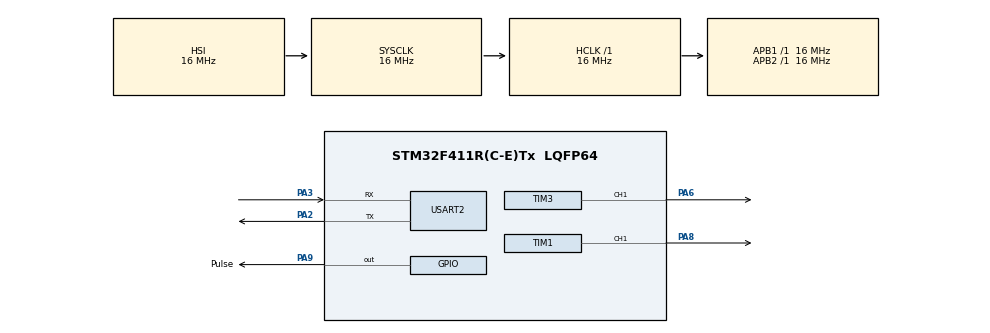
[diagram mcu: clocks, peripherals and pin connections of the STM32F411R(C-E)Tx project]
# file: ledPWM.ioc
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Mcu.Family=STM32F4
Mcu.Name=STM32F411R(C-E)Tx
Mcu.Package=LQFP64
NVIC.PriorityGroup=NVIC_PRIORITYGROUP_4
NVIC.USART2_IRQn=true\:0\:0\:false\:false\:true\:true\:true\:true
PA2.Mode=Asynchronous
PA2.Signal=USART2_TX
PA3.Mode=Asynchronous
PA3.Signal=USART2_RX
PA6.Signal=S_TIM3_CH1
PA8.Signal=S_TIM1_CH1
PA9.GPIO_Label=Pulse
PA9.Signal=GPIO_Output
ProjectManager.HeapSize=0x200
ProjectManager.StackSize=0x400
ProjectManager.TargetToolchain=STM32CubeIDE
RCC.AHBFreq_Value=16000000
RCC.APB1Freq_Value=16000000
RCC.APB2Freq_Value=16000000
RCC.CortexFreq_Value=16000000
RCC.HSE_VALUE=25000000
RCC.HSI_VALUE=16000000
RCC.LSE_VALUE=32768
RCC.SYSCLKFreq_VALUE=16000000
RCC.VCOOutputFreq_Value=192000000
SH.S_TIM1_CH1.0=TIM1_CH1,PWM Generation1 CH1
SH.S_TIM3_CH1.0=TIM3_CH1,PWM Generation1 CH1
TIM1.Channel-PWM\ Generation1\ CH1=TIM_CHANNEL_1
TIM1.Period=1000-1
TIM1.Prescaler=16-1
TIM1.Pulse-PWM\ Generation1\ CH1=500-1
TIM3.Channel-PWM\ Generation1\ CH1=TIM_CHANNEL_1
TIM3.Period=1000-1
TIM3.Prescaler=16-1
TIM3.Pulse-PWM\ Generation1\ CH1=500-1
USART2.VirtualMode=VM_ASYNC
VP_TIM1_VS_ClockSourceINT.Mode=Internal
VP_TIM3_VS_ClockSourceINT.Mode=Internal
board=custom

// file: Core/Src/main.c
/* USER CODE BEGIN Header */
/**
  ******************************************************************************
  * @file           : main.c
  * @brief          : Main program body
  ******************************************************************************
  * @attention
  *
  * Copyright (c) 2024 STMicroelectronics.
  * All rights reserved.
  *
  * This software is licensed under terms that can be found in the LICENSE file
  * in the root directory of this software component.
  * If no LICENSE file comes with this software, it is provided AS-IS.
  *
  ******************************************************************************
  */
/* USER CODE END Header */
#include "main.h"

/* USER CODE BEGIN Includes */
#include "uart.h"
/* USER CODE END Includes */

/* USER CODE BEGIN PD */
#define		OC6_C			1108
#define		OC6_D			1244
#define		OC6_E			1396
#define		OC6_F			1479
#define		OC6_G			1661
#define		OC5_B			987
#define		OC5_A			932
#define		OC5_G			830

/* USER CODE END PD */

TIM_HandleTypeDef htim1;
TIM_HandleTypeDef htim3;

UART_HandleTypeDef huart2;

void SystemClock_Config(void);
static void MX_GPIO_Init(void);
static void MX_TIM1_Init(void);
static void MX_TIM3_Init(void);
static void MX_USART2_UART_Init(void);

/* USER CODE BEGIN 0 */
int countSinLed =0;
int countPulseLed =0;
int countSound = 0;

int soundLUT[]={131,147,165,175,196,220,247,262};

void	SysTickCallback(){
	if(countSinLed>0) countSinLed--;
	if(countPulseLed>0) countPulseLed--;
	if(countSound>0)	countSound--;
}

void	setSound(int freq){
	htim3.Instance->ARR = 1000000/ freq -1;
	htim3.Instance->CCR1 = htim3.Instance->ARR/2;
}

void stopSound(){
	htim3.Instance->CCR1 =0;
}

void timer(int ms){

}

/* USER CODE END 0 */

int main(void)
{

  /* MCU Configuration--------------------------------------------------------*/

  /* Reset of all peripherals, Initializes the Flash interface and the Systick. */
  HAL_Init();

  /* Configure the system clock */
  SystemClock_Config();

  /* Initialize all configured peripherals */
  MX_GPIO_Init();
  MX_TIM1_Init();
  MX_TIM3_Init();
  MX_USART2_UART_Init();

  /* USER CODE BEGIN 2 */
  initUart(&huart2);
  // start pwm
  HAL_TIM_PWM_Start(&htim1, TIM_CHANNEL_1);
  HAL_TIM_PWM_Start(&htim3, TIM_CHANNEL_1);
  /* USER CODE END 2 */

  /* Infinite loop */
  /* USER CODE BEGIN WHILE */
  while (1)
  {
  	if(countSinLed == 0){
  		countSinLed = 5;
    	static int angle = 0;
    	angle++;
    	angle %= 360;
    	int value = sin(angle*3.14/180) * 499 + 499;
    	htim1.Instance->CCR1=value;
  	}
  	if(countPulseLed ==0){
  		countPulseLed = 125;
  		HAL_GPIO_TogglePin(Pulse_GPIO_Port, Pulse_Pin);
  	}

  	if(countSound == 0){
  		countSound = 500;
  		stopSound();
  		char ch = getChar();
  		switch(ch){
  		case 'c':
  			setSound(soundLUT[0]);
  			break;
  		case 'd':
  			setSound(soundLUT[1]);
  			break;
  		case 'e':
  			setSound(soundLUT[2]);
  			break;
  		case 'f':
  			setSound(soundLUT[3]);
  			break;
  		case 'g':
  			setSound(soundLUT[4]);
  			break;
  		case 'a':
  			setSound(soundLUT[5]);
  			break;
  		case 'b':
  			setSound(soundLUT[6]);
  			break;
  		case 'C':
  			setSound(soundLUT[7]);
  			break;

  		}
  	}

    /* USER CODE END WHILE */

  }
}

void SystemClock_Config(void)
{
  RCC_OscInitTypeDef RCC_OscInitStruct = {0};
  RCC_ClkInitTypeDef RCC_ClkInitStruct = {0};

  /** Configure the main internal regulator output voltage
  */
  __HAL_RCC_PWR_CLK_ENABLE();
  __HAL_PWR_VOLTAGESCALING_CONFIG(PWR_REGULATOR_VOLTAGE_SCALE1);

  /** Initializes the RCC Oscillators according to the specified parameters
  * in the RCC_OscInitTypeDef structure.
  */
  RCC_OscInitStruct.OscillatorType = RCC_OSCILLATORTYPE_HSI;
  RCC_OscInitStruct.HSIState = RCC_HSI_ON;
  RCC_OscInitStruct.HSICalibrationValue = RCC_HSICALIBRATION_DEFAULT;
  RCC_OscInitStruct.PLL.PLLState = RCC_PLL_NONE;
  if (HAL_RCC_OscConfig(&RCC_OscInitStruct) != HAL_OK)
  {
    Error_Handler();
  }

  /** Initializes the CPU, AHB and APB buses clocks
  */
  RCC_ClkInitStruct.ClockType = RCC_CLOCKTYPE_HCLK|RCC_CLOCKTYPE_SYSCLK
                              |RCC_CLOCKTYPE_PCLK1|RCC_CLOCKTYPE_PCLK2;
  RCC_ClkInitStruct.SYSCLKSource = RCC_SYSCLKSOURCE_HSI;
  RCC_ClkInitStruct.AHBCLKDivider = RCC_SYSCLK_DIV1;
  RCC_ClkInitStruct.APB1CLKDivider = RCC_HCLK_DIV1;
  RCC_ClkInitStruct.APB2CLKDivider = RCC_HCLK_DIV1;

  if (HAL_RCC_ClockConfig(&RCC_ClkInitStruct, FLASH_LATENCY_0) != HAL_OK)
  {
    Error_Handler();
  }
}

static void MX_TIM1_Init(void)
{

  TIM_ClockConfigTypeDef sClockSourceConfig = {0};
  TIM_MasterConfigTypeDef sMasterConfig = {0};
  TIM_OC_InitTypeDef sConfigOC = {0};
  TIM_BreakDeadTimeConfigTypeDef sBreakDeadTimeConfig = {0};

  htim1.Instance = TIM1;
  htim1.Init.Prescaler = 16-1;
  htim1.Init.CounterMode = TIM_COUNTERMODE_UP;
  htim1.Init.Period = 1000-1;
  htim1.Init.ClockDivision = TIM_CLOCKDIVISION_DIV1;
  htim1.Init.RepetitionCounter = 0;
  htim1.Init.AutoReloadPreload = TIM_AUTORELOAD_PRELOAD_DISABLE;
  if (HAL_TIM_Base_Init(&htim1) != HAL_OK)
  {
    Error_Handler();
  }
  sClockSourceConfig.ClockSource = TIM_CLOCKSOURCE_INTERNAL;
  if (HAL_TIM_ConfigClockSource(&htim1, &sClockSourceConfig) != HAL_OK)
  {
    Error_Handler();
  }
  if (HAL_TIM_PWM_Init(&htim1) != HAL_OK)
  {
    Error_Handler();
  }
  sMasterConfig.MasterOutputTrigger = TIM_TRGO_RESET;
  sMasterConfig.MasterSlaveMode = TIM_MASTERSLAVEMODE_DISABLE;
  if (HAL_TIMEx_MasterConfigSynchronization(&htim1, &sMasterConfig) != HAL_OK)
  {
    Error_Handler();
  }
  sConfigOC.OCMode = TIM_OCMODE_PWM1;
  sConfigOC.Pulse = 500-1;
  sConfigOC.OCPolarity = TIM_OCPOLARITY_HIGH;
  sConfigOC.OCNPolarity = TIM_OCNPOLARITY_HIGH;
  sConfigOC.OCFastMode = TIM_OCFAST_DISABLE;
  sConfigOC.OCIdleState = TIM_OCIDLESTATE_RESET;
  sConfigOC.OCNIdleState = TIM_OCNIDLESTATE_RESET;
  if (HAL_TIM_PWM_ConfigChannel(&htim1, &sConfigOC, TIM_CHANNEL_1) != HAL_OK)
  {
    Error_Handler();
  }
  sBreakDeadTimeConfig.OffStateRunMode = TIM_OSSR_DISABLE;
  sBreakDeadTimeConfig.OffStateIDLEMode = TIM_OSSI_DISABLE;
  sBreakDeadTimeConfig.LockLevel = TIM_LOCKLEVEL_OFF;
  sBreakDeadTimeConfig.DeadTime = 0;
  sBreakDeadTimeConfig.BreakState = TIM_BREAK_DISABLE;
  sBreakDeadTimeConfig.BreakPolarity = TIM_BREAKPOLARITY_HIGH;
  sBreakDeadTimeConfig.AutomaticOutput = TIM_AUTOMATICOUTPUT_DISABLE;
  if (HAL_TIMEx_ConfigBreakDeadTime(&htim1, &sBreakDeadTimeConfig) != HAL_OK)
  {
    Error_Handler();
  }
  HAL_TIM_MspPostInit(&htim1);

}

static void MX_TIM3_Init(void)
{

  TIM_ClockConfigTypeDef sClockSourceConfig = {0};
  TIM_MasterConfigTypeDef sMasterConfig = {0};
  TIM_OC_InitTypeDef sConfigOC = {0};

  htim3.Instance = TIM3;
  htim3.Init.Prescaler = 16-1;
  htim3.Init.CounterMode = TIM_COUNTERMODE_UP;
  htim3.Init.Period = 1000-1;
  htim3.Init.ClockDivision = TIM_CLOCKDIVISION_DIV1;
  htim3.Init.AutoReloadPreload = TIM_AUTORELOAD_PRELOAD_DISABLE;
  if (HAL_TIM_Base_Init(&htim3) != HAL_OK)
  {
    Error_Handler();
  }
  sClockSourceConfig.ClockSource = TIM_CLOCKSOURCE_INTERNAL;
  if (HAL_TIM_ConfigClockSource(&htim3, &sClockSourceConfig) != HAL_OK)
  {
    Error_Handler();
  }
  if (HAL_TIM_PWM_Init(&htim3) != HAL_OK)
  {
    Error_Handler();
  }
  sMasterConfig.MasterOutputTrigger = TIM_TRGO_RESET;
  sMasterConfig.MasterSlaveMode = TIM_MASTERSLAVEMODE_DISABLE;
  if (HAL_TIMEx_MasterConfigSynchronization(&htim3, &sMasterConfig) != HAL_OK)
  {
    Error_Handler();
  }
  sConfigOC.OCMode = TIM_OCMODE_PWM1;
  sConfigOC.Pulse = 500-1;
  sConfigOC.OCPolarity = TIM_OCPOLARITY_HIGH;
  sConfigOC.OCFastMode = TIM_OCFAST_DISABLE;
  if (HAL_TIM_PWM_ConfigChannel(&htim3, &sConfigOC, TIM_CHANNEL_1) != HAL_OK)
  {
    Error_Handler();
  }
  HAL_TIM_MspPostInit(&htim3);

}

static void MX_USART2_UART_Init(void)
{

  huart2.Instance = USART2;
  huart2.Init.BaudRate = 115200;
  huart2.Init.WordLength = UART_WORDLENGTH_8B;
  huart2.Init.StopBits = UART_STOPBITS_1;
  huart2.Init.Parity = UART_PARITY_NONE;
  huart2.Init.Mode = UART_MODE_TX_RX;
  huart2.Init.HwFlowCtl = UART_HWCONTROL_NONE;
  huart2.Init.OverSampling = UART_OVERSAMPLING_16;
  if (HAL_UART_Init(&huart2) != HAL_OK)
  {
    Error_Handler();
  }

}

static void MX_GPIO_Init(void)
{
  GPIO_InitTypeDef GPIO_InitStruct = {0};

  /* GPIO Ports Clock Enable */
  __HAL_RCC_GPIOA_CLK_ENABLE();

  /*Configure GPIO pin Output Level */
  HAL_GPIO_WritePin(Pulse_GPIO_Port, Pulse_Pin, GPIO_PIN_RESET);

  /*Configure GPIO pin : Pulse_Pin */
  GPIO_InitStruct.Pin = Pulse_Pin;
  GPIO_InitStruct.Mode = GPIO_MODE_OUTPUT_PP;
  GPIO_InitStruct.Pull = GPIO_NOPULL;
  GPIO_InitStruct.Speed = GPIO_SPEED_FREQ_LOW;
  HAL_GPIO_Init(Pulse_GPIO_Port, &GPIO_InitStruct);

}

void Error_Handler(void)
{
  __disable_irq();
  while (1)
  {
  }
}
